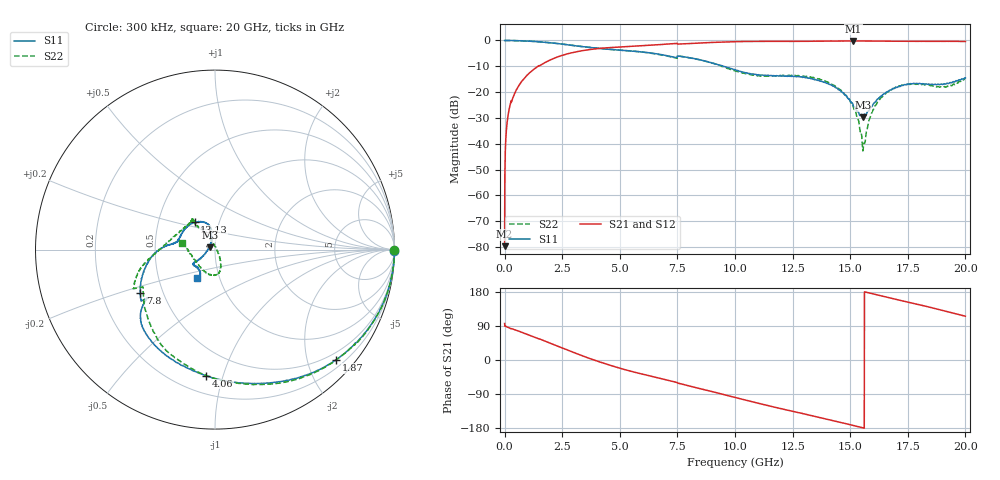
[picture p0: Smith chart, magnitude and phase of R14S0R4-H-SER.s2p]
!{R14S0R4}
!Johanson Technology Inc.
!www.johansontechnology.com
!Test Board Conditions:
!Substrate Type  RO4350B
!Substrate Thickness  20 mil
!Substrate Dk  3.66
!TL Type: GCPW
!TL Trace Width  36 mil
!TL Gap  12 mil
!Electrode orientation  Horizontal
!DUT TOPOLOGY	SERIES
!Mounting Pad LxW  26x36 mil
! Created Wed Nov 25 17:33:21 2020
! 2 Port Network Data from SP1.SP block
! freq  magS11  angS11  magS21  angS21  magS12  angS12  magS22  angS22
# khz S ma R 50
! decimated to every 10th point (10 MHz spacing) of the original 1 MHz Johanson file; values unchanged
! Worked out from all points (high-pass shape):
!   2001 points, 300 kHz to 20 GHz, reference 50 ohm
!   highest |S21| = -0.19 dB at 15.13 GHz (marker M1); lowest = -79.6 dB at 300 kHz (marker M2)
!   |S21| within 3 dB of the highest: 3.991 GHz to end of sweep
!   lowest |S11| = -29.7 dB at 15.55 GHz (marker M3), VSWR 1.07, Z = 47.1 + j1.26 ohm
!   |S11| at or under -10 dB: 9.495 GHz to end of sweep
!   |S22| runs from -42.8 to 0.0 dB; largest |S21 - S12| = 0.01
!   S11 on the Smith chart (normalised r, x): 300 kHz: open; 1.87 GHz: 0.35, -2.54; 4.06 GHz: 0.32, -0.88; 7.8 GHz: 0.37, -0.23; 13.13 GHz: 0.76, +0.24; 20 GHz: 0.78, -0.26
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300  0.9971 -0.4  0.0001042 96.2  6.245e-05 85.7  0.9975 -0.2
120300  0.9996 -2.9  0.02839 86.9  0.02859 87.0  0.9989 -2.9
290300  0.9967 -7.1  0.06862 82.3  0.06905 82.4  0.997 -7.0
880300  0.9795 -19.5  0.1914 70.3  0.1915 70.2  0.9803 -19.6
1870300  0.9117 -42.4  0.3968 46.9  0.3978 47.0  0.9106 -43.0
3340300  0.7628 -77.5  0.6296 11.9  0.6313 11.9  0.7628 -78.4
4060300  0.7042 -94.1  0.6971 -3.7  0.697 -3.7  0.7061 -93.2
5440300  0.6273 -123.0  0.7676 -29.0  0.7664 -28.9  0.6282 -114.6
6670300  0.5442 -139.6  0.8263 -47.5  0.8286 -47.4  0.5363 -134.0
7800300  0.4801 -149.9  0.8605 -65.2  0.8648 -65.2  0.48 -158.4
1.00003e7  0.2711 175.4  0.9455 -98.8  0.9481 -98.9  0.26 169.0
1.31303e7  0.1913 126.6  0.9625 -144.0  0.9619 -144.1  0.2006 126.5
1.33403e7  0.1805 119.8  0.965 -146.9  0.9641 -147.0  0.191 127.5
1.44003e7  0.1212 100.5  0.9745 -162.0  0.9713 -162.0  0.1248 122.6
1.51303e7  0.05527 110.0  0.9786 -172.7  0.9766 -172.7  0.05277 110.9
1.55503e7  0.03259 155.7  0.9759 -179.0  0.9761 -178.9  0.007284 42.0
1.56303e7  0.03742 166.7  0.9743 179.8  0.9761 179.8  0.0103 -5.4
1.60103e7  0.05996 -158.9  0.9737 174.2  0.9736 174.3  0.04671 -56.3
1.66703e7  0.1047 -149.1  0.97 164.6  0.9683 164.7  0.1037 -71.5
1.75903e7  0.1451 -147.4  0.9629 151.4  0.9663 151.4  0.1416 -90.0
1.92203e7  0.1481 -124.9  0.9643 127.5  0.9629 127.7  0.1302 -156.3
2e7  0.1884 -121.5  0.9542 115.5  0.9457 115.3  0.1878 169.6
